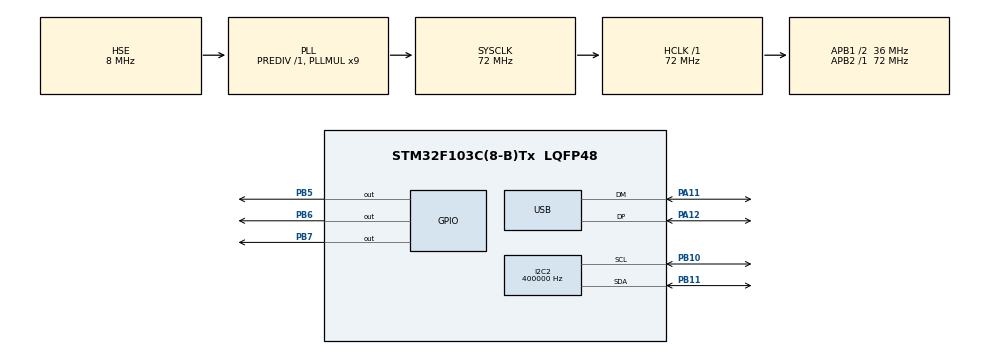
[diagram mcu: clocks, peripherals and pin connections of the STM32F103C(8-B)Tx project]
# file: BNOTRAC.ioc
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I2C2.ClockSpeed=400000
I2C2.I2C_Mode=I2C_Fast
Mcu.Family=STM32F1
Mcu.Name=STM32F103C(8-B)Tx
Mcu.Package=LQFP48
NVIC.I2C2_ER_IRQn=true\:5\:0\:true\:false\:true\:true
NVIC.I2C2_EV_IRQn=true\:5\:0\:true\:false\:true\:true
NVIC.PriorityGroup=NVIC_PRIORITYGROUP_4
NVIC.USB_LP_CAN1_RX0_IRQn=true\:0\:0\:false\:false\:true\:false
PA11.Mode=Device
PA11.Signal=USB_DM
PA12.Mode=Device
PA12.Signal=USB_DP
PA13.Mode=Serial_Wire
PA13.Signal=SYS_JTMS-SWDIO
PA14.Mode=Serial_Wire
PA14.Signal=SYS_JTCK-SWCLK
PB10.Mode=I2C
PB10.Signal=I2C2_SCL
PB11.Mode=I2C
PB11.Signal=I2C2_SDA
PB5.GPIO_Speed=GPIO_SPEED_FREQ_HIGH
PB5.PinState=GPIO_PIN_SET
PB5.Signal=GPIO_Output
PB6.GPIO_Speed=GPIO_SPEED_FREQ_HIGH
PB6.PinState=GPIO_PIN_SET
PB6.Signal=GPIO_Output
PB7.GPIO_Speed=GPIO_SPEED_FREQ_HIGH
PB7.PinState=GPIO_PIN_SET
PB7.Signal=GPIO_Output
PD0-OSC_IN.Mode=HSE-External-Oscillator
PD0-OSC_IN.Signal=RCC_OSC_IN
PD1-OSC_OUT.Mode=HSE-External-Oscillator
PD1-OSC_OUT.Signal=RCC_OSC_OUT
ProjectManager.HeapSize=0x200
ProjectManager.StackSize=0x400
ProjectManager.TargetToolchain=SW4STM32
RCC.AHBFreq_Value=72000000
RCC.APB1CLKDivider=RCC_HCLK_DIV2
RCC.APB1Freq_Value=36000000
RCC.APB1TimFreq_Value=72000000
RCC.APB2Freq_Value=72000000
RCC.APB2TimFreq_Value=72000000
RCC.HCLKFreq_Value=72000000
RCC.PLLMUL=RCC_PLL_MUL9
RCC.SYSCLKFreq_VALUE=72000000
RCC.SYSCLKSource=RCC_SYSCLKSOURCE_PLLCLK
RCC.USBFreq_Value=48000000
RCC.USBPrescaler=RCC_USBCLKSOURCE_PLL_DIV1_5
USB_DEVICE.CLASS_NAME_FS=CDC
USB_DEVICE.USBD_MAX_STR_DESC_SIZ=256
USB_DEVICE.VirtualMode=Cdc
USB_DEVICE.VirtualModeFS=Cdc_FS
VP_USB_DEVICE_VS_USB_DEVICE_CDC_FS.Mode=CDC_FS
board=custom

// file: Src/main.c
/* USER CODE BEGIN Header */
/**
  ******************************************************************************
  * @file           : main.c
  * @brief          : Main program body
  ******************************************************************************
  * This notice applies to any and all portions of this file
  * that are not between comment pairs USER CODE BEGIN and
  * USER CODE END. Other portions of this file, whether
  * inserted by the user or by software development tools
  * are owned by their respective copyright owners.
  *
  * Copyright (c) 2019 STMicroelectronics International N.V.
  * All rights reserved.
  *
  * Redistribution and use in source and binary forms, with or without
  * modification, are permitted, provided that the following conditions are met:
  *
  * 1. Redistribution of source code must retain the above copyright notice,
  *    this list of conditions and the following disclaimer.
  * 2. Redistributions in binary form must reproduce the above copyright notice,
  *    this list of conditions and the following disclaimer in the documentation
  *    and/or other materials provided with the distribution.
  * 3. Neither the name of STMicroelectronics nor the names of other
  *    contributors to this software may be used to endorse or promote products
  *    derived from this software without specific written permission.
  * 4. This software, including modifications and/or derivative works of this
  *    software, must execute solely and exclusively on microcontroller or
  *    microprocessor devices manufactured by or for STMicroelectronics.
  * 5. Redistribution and use of this software other than as permitted under
  *    this license is void and will automatically terminate your rights under
  *    this license.
  *
  * THIS SOFTWARE IS PROVIDED BY STMICROELECTRONICS AND CONTRIBUTORS "AS IS"
  * AND ANY EXPRESS, IMPLIED OR STATUTORY WARRANTIES, INCLUDING, BUT NOT
  * LIMITED TO, THE IMPLIED WARRANTIES OF MERCHANTABILITY, FITNESS FOR A
  * PARTICULAR PURPOSE AND NON-INFRINGEMENT OF THIRD PARTY INTELLECTUAL PROPERTY
  * RIGHTS ARE DISCLAIMED TO THE FULLEST EXTENT PERMITTED BY LAW. IN NO EVENT
  * SHALL STMICROELECTRONICS OR CONTRIBUTORS BE LIABLE FOR ANY DIRECT, INDIRECT,
  * INCIDENTAL, SPECIAL, EXEMPLARY, OR CONSEQUENTIAL DAMAGES (INCLUDING, BUT NOT
  * LIMITED TO, PROCUREMENT OF SUBSTITUTE GOODS OR SERVICES; LOSS OF USE, DATA,
  * OR PROFITS; OR BUSINESS INTERRUPTION) HOWEVER CAUSED AND ON ANY THEORY OF
  * LIABILITY, WHETHER IN CONTRACT, STRICT LIABILITY, OR TORT (INCLUDING
  * NEGLIGENCE OR OTHERWISE) ARISING IN ANY WAY OUT OF THE USE OF THIS SOFTWARE,
  * EVEN IF ADVISED OF THE POSSIBILITY OF SUCH DAMAGE.
  *
  ******************************************************************************
  */
/* USER CODE END Header */

#include "main.h"
#include "i2c.h"
#include "usb_device.h"
#include "gpio.h"

/* USER CODE BEGIN Includes */
#include "BNO055.h"
#include <math.h>

/* USER CODE END Includes */

/* USER CODE BEGIN PV */
float PI = 3.14159265358979323846f;
float LINACC [3];
float LINACCOLD [3];
float Euler[3];
float Quat[4];
float QuatW;
float QuatX;
float QuatY;
float QuatZ;
float test;

float sinr_cosp =0.0f;
float cosr_cosp =0.0f;
float sinp =0.0f;
float siny_cosp =0.0f;
float cosy_cosp =0.0f;

float prevVelocity[3];
float newVelocity[3];
float prevPosition[3];
float prevAccel[3];
float Position[3];
float nevalgo[3];
float Abs[3];
float AbsOld[3];
float EulerF[3];
float EulerF2[3];

float vzero[3];
float szero[3];

uint64_t lastRotationUpdate = 0.0f;
volatile uint64_t now = 0.0f;
float elapsedTime = 0.0f;

int optimer=0;
uint16_t Code;
uint8_t bufArd[30];
uint8_t cnt=0;
uint8_t status;
uint8_t test_result;
uint8_t error;

uint8_t sys=0;
uint8_t gyro=0;
uint8_t accel=0;
uint8_t mag=0;

/* USER CODE END PV */

void SystemClock_Config(void);

/* USER CODE BEGIN 0 */
uint64_t GetMicros(void)
{
	register uint64_t systick, ticks;
	do {
	ticks = (uint64_t)HAL_GetTick();

	 systick = (uint64_t)SysTick->VAL;
	}
	 while (ticks != (uint64_t)HAL_GetTick());
	return (ticks * 1000ull) + (72ul*1000ull - systick )/ 72ul;
}

/* USER CODE END 0 */

int main(void)
{

  /* MCU Configuration--------------------------------------------------------*/

  /* Reset of all peripherals, Initializes the Flash interface and the Systick. */
  HAL_Init();

  /* Configure the system clock */
  SystemClock_Config();

  /* Initialize all configured peripherals */
  MX_GPIO_Init();
  MX_USB_DEVICE_Init();
  MX_I2C2_Init();
  /* USER CODE BEGIN 2 */
    LED0_OFF;
    LED1_OFF;
    LED2_OFF;
    LED0_ON;
    HAL_Delay (100);
    LED1_ON;
    HAL_Delay (100);
    LED0_OFF;
    LED2_ON;
    HAL_Delay (100);
    LED1_OFF;
    HAL_Delay (100);
    LED2_OFF;
    LED1_ON;
    HAL_Delay (100);
    LED1_OFF;
    HAL_Delay (200);
    /*
     print("Start test I2C\r\n");
    HAL_Delay (200);

      for(int i = 0; i < 128; i++)
          {
           uint8_t address = i << 1;

           if(HAL_I2C_IsDeviceReady(&hi2c2, (uint8_t*) address, 1, 1000) == HAL_OK)
           {
            char str[4];
            sprintf(str, "0x%X", address >> 1);
            print("Address:");
            HAL_Delay (500);
            print(str);
            HAL_Delay (500);
            print("\r\n");
            HAL_Delay (500);

         }
          }
          print("Test end I2C\r\n");

*/
    begin( );
    //Calibrating the IMU
    while(sys != 3)
    {
    	char str[4];
    getCalibration(&sys, &gyro, &accel, &mag);
    LED0_TOGGLE;
    LED1_TOGGLE;
    LED2_TOGGLE;
    print("CALIBRATION: Sys=");
    sprintf(str, "0x%X",sys);
    HAL_Delay (500);
    print(str);
    HAL_Delay (500);
    print(" Gyro=");
    sprintf(str, "0x%X",gyro);
    HAL_Delay (500);
    print(str);
    HAL_Delay (500);
    print(" Accel=");
    sprintf(str, "0x%X",accel);
    HAL_Delay (500);
    print(str);
    HAL_Delay (500);
    print(" Mag=");
    sprintf(str, "0x%X",mag);
    HAL_Delay (500);
    print(str);
    HAL_Delay (500);

    print("\r\n");
    }
    LED0_OFF;
    LED1_OFF;
    LED2_OFF;
    now = GetMicros();
  /* USER CODE END 2 */

  /* Infinite loop */
  /* USER CODE BEGIN WHILE */

   while (1)
  {

	    ProcessHeadTracking();
	  		cnt++;
	  		if (cnt>=100)
	  		{
	  			LED1_TOGGLE;
	  			cnt=0;
	  		}

	  		/*	 processcalcAbs();
	  // getLinear(VECTOR_LINEARACCEL, LINACC);
	  uint8_t i = 0;
	  	char str0[100];
	  	sprintf(str0,"%08d;%08d;%08d\r\n", (int16_t)nevalgo[0], (int16_t)nevalgo[1], (int16_t)nevalgo[2] );
	  		   	 CDC_Transmit_FS((unsigned char*)str0, strlen(str0),100);

	  		  cnt++;
	  		  		if (cnt>=100)
	  		  		{
	  		  			LED0_TOGGLE;
	  		  			cnt=0;
	  		  		}
*/

    /* USER CODE END WHILE */

  }
}

void SystemClock_Config(void)
{
  RCC_OscInitTypeDef RCC_OscInitStruct = {0};
  RCC_ClkInitTypeDef RCC_ClkInitStruct = {0};
  RCC_PeriphCLKInitTypeDef PeriphClkInit = {0};

  /**Initializes the CPU, AHB and APB busses clocks
  */
  RCC_OscInitStruct.OscillatorType = RCC_OSCILLATORTYPE_HSE;
  RCC_OscInitStruct.HSEState = RCC_HSE_ON;
  RCC_OscInitStruct.HSEPredivValue = RCC_HSE_PREDIV_DIV1;
  RCC_OscInitStruct.HSIState = RCC_HSI_ON;
  RCC_OscInitStruct.PLL.PLLState = RCC_PLL_ON;
  RCC_OscInitStruct.PLL.PLLSource = RCC_PLLSOURCE_HSE;
  RCC_OscInitStruct.PLL.PLLMUL = RCC_PLL_MUL9;
  if (HAL_RCC_OscConfig(&RCC_OscInitStruct) != HAL_OK)
  {
    Error_Handler();
  }
  /**Initializes the CPU, AHB and APB busses clocks
  */
  RCC_ClkInitStruct.ClockType = RCC_CLOCKTYPE_HCLK|RCC_CLOCKTYPE_SYSCLK
                              |RCC_CLOCKTYPE_PCLK1|RCC_CLOCKTYPE_PCLK2;
  RCC_ClkInitStruct.SYSCLKSource = RCC_SYSCLKSOURCE_PLLCLK;
  RCC_ClkInitStruct.AHBCLKDivider = RCC_SYSCLK_DIV1;
  RCC_ClkInitStruct.APB1CLKDivider = RCC_HCLK_DIV2;
  RCC_ClkInitStruct.APB2CLKDivider = RCC_HCLK_DIV1;

  if (HAL_RCC_ClockConfig(&RCC_ClkInitStruct, FLASH_LATENCY_2) != HAL_OK)
  {
    Error_Handler();
  }
  PeriphClkInit.PeriphClockSelection = RCC_PERIPHCLK_USB;
  PeriphClkInit.UsbClockSelection = RCC_USBCLKSOURCE_PLL_DIV1_5;
  if (HAL_RCCEx_PeriphCLKConfig(&PeriphClkInit) != HAL_OK)
  {
    Error_Handler();
  }
}

/* USER CODE BEGIN 4 */

void floatToByteArray(float f, uint8_t *barr, uint8_t start) {

    unsigned int asInt = *((int*)&f);

    int i;
    for (i = 0; i < 4; i++) {
        barr[start+i] = (asInt >> 8 * i) & 0xFF;
    }
}

void processQuat()
{
	getQuat(VECTOR_QUAT, Quat);

	QuatW=Quat[0];
	QuatX=Quat[1];
	QuatY=Quat[2];
	QuatZ=Quat[3];
}

void processEuler()
{

	getEuler(VECTOR_EULER, Euler);

	/* sinr_cosp = 2.0f*(QuatY*QuatW-QuatX*QuatZ);
	 cosr_cosp = 1.0f-2.0f*(QuatY*QuatY+QuatZ*QuatZ);
	 sinp = 2.0f*(QuatX*QuatY + QuatZ*QuatW);
	 siny_cosp = 2.0f*(QuatX*QuatW-QuatY*QuatZ);
	 cosy_cosp = 1.f-2.0f*(QuatX*QuatX+QuatZ*QuatZ);

 Euler[0]=atan2(sinr_cosp, cosr_cosp);
 if(fabs(sinp)>=1){
 Euler[1]=copysign(PI/2,sinp);
 }
 else {
 		  Euler[1]=asin(sinp);
 	  }
 Euler[2]=atan2(siny_cosp, cosy_cosp);
 */
	  EulerF[0]=Euler[0]-180.0f;
	  EulerF[1]=Euler[1];
	  EulerF[2]=Euler[2];
}

void print(char string[])
{
	CDC_Transmit_FS( (unsigned char*) string, strlen(string), 100);
}

void processArduinoReport()
  {
	 // optimer++;
	  //if (optimer>100) {optimer=0;}

	  EulerF2[0]=EulerF2[0]*0.9f+EulerF[0]*0.1f;
	  EulerF2[1]=EulerF2[1]*0.9f+EulerF[1]*0.1f;
	  EulerF2[2]=EulerF2[2]*0.9f+EulerF[2]*0.1f;

	  AbsOld[0]=AbsOld[0]*0.9f+Abs[0]*0.1f;
	  AbsOld[1]=AbsOld[1]*0.9f+Abs[1]*0.1f;
	  AbsOld[2]=AbsOld[2]*0.9f+Abs[2]*0.1f;
	 // if (optimer%1==0)
	 // {
		  Code++;
		  if (Code>999)
			  Code=0;

			bufArd[0]=(uint8_t)(0xAA);
			bufArd[1]=(uint8_t)(0xAA);
			bufArd[2]=(uint8_t)Code;
			bufArd[3]=(uint8_t)(Code>>8);

			bufArd[4]=(uint8_t)0x00;
			bufArd[5]=(uint8_t)0x00;
			bufArd[6]=(uint8_t)0x00;
			bufArd[7]=(uint8_t)0x00;

			bufArd[8]=(uint8_t)0x00;
			bufArd[9]=(uint8_t)0x00;
			bufArd[10]=(uint8_t)0x00;
			bufArd[11]=(uint8_t)0x00;

			bufArd[12]=(uint8_t)0x00;
			bufArd[13]=(uint8_t)0x00;
			bufArd[14]=(uint8_t)0x00;
			bufArd[15]=(uint8_t)0x00;

			bufArd[16]=(uint8_t) 0x00;
			bufArd[17]=(uint8_t) 0x00;
			bufArd[18]=(uint8_t) 0x00;
			bufArd[19]=(uint8_t) 0x00;

			bufArd[20]=(uint8_t) 0x00;
			bufArd[21]=(uint8_t) 0x00;
			bufArd[22]=(uint8_t) 0x00;
			bufArd[23]=(uint8_t) 0x00;

			bufArd[24]=(uint8_t) 0x00;
			bufArd[25]=(uint8_t) 0x00;
			bufArd[26]=(uint8_t) 0x00;
			bufArd[27]=(uint8_t) 0x00;

			bufArd[28]=(uint8_t)(0x55);
			bufArd[29]=(uint8_t)(0x55);

			floatToByteArray(EulerF2[0],bufArd,4);
			floatToByteArray(EulerF2[1],bufArd,8);
			floatToByteArray(EulerF2[2],bufArd,12);
			floatToByteArray(AbsOld[0],bufArd,16);
			floatToByteArray(AbsOld[1],bufArd,20);
			floatToByteArray(AbsOld[2],bufArd,24);
			CDC_Transmit_FS(bufArd,30);
	 // }

  }

void ProcessHeadTracking()
{
	//processQuat();
	processEuler();
	processcalcAbs();
	processArduinoReport();
}

/*void HAL_GPIO_EXTI_Callback(uint16_t GPIO_Pin)
{
	if (GPIO_Pin==GPIO_PIN_4)
	{

		ProcessHeadTracking();
		cnt++;
		if (cnt>=250)
		{
			LED0_TOGGLE;
			cnt=0;
		}
	}
	//else if (GPIO_Pin==GPIO_PIN_13)
	//{
	//	LED1_TOGGLE;
	//	getCalibration();
	//}
}*/

/* uses last loaded QuaData and LinAccData. */
void processcalcAbs()
{
	lastRotationUpdate = now;
	now = GetMicros();
	elapsedTime = (now - lastRotationUpdate) / 1000000.0f; // set integration time by time elapsed since last filter update

    getLinear(VECTOR_LINEARACCEL, LINACC);

    LINACCOLD[0] = LINACCOLD[0]*0.995f+LINACC[0]*0.005f;
    LINACCOLD[1] = LINACCOLD[1]*0.995f+LINACC[1]*0.005f;
    LINACCOLD[2] = LINACCOLD[2]*0.995f+LINACC[2]*0.005f;

    newVelocity[0] = prevVelocity[0]+ LINACCOLD[0]* elapsedTime;
    newVelocity[1] = prevVelocity[1]+ LINACCOLD[1]* elapsedTime;
    newVelocity[2] = prevVelocity[2]+ LINACCOLD[2]* elapsedTime;

    nevalgo[0]+= LINACCOLD[0];
    nevalgo[1]+= LINACCOLD[1];
    nevalgo[2]+= LINACCOLD[2];

    Position[0] += (prevVelocity[0]* elapsedTime + (LINACCOLD[0]* elapsedTime* elapsedTime)/2);
    Position[1] += (prevVelocity[1]* elapsedTime + (LINACCOLD[1]* elapsedTime* elapsedTime)/2);
    Position[2] += (prevVelocity[2]* elapsedTime + (LINACCOLD[2]* elapsedTime* elapsedTime)/2);

    Abs[0] = Abs[0]*0.98f+Position[0]*0.02f;
    Abs[1] = Abs[1]*0.98f+Position[1]*0.02f;
    Abs[2] = Abs[2]*0.98f+Position[2]*0.02f;

   // prevAccel[0] = LINACCOLD[0];
   // prevAccel[1] = LINACCOLD[1];
   // prevAccel[2] = LINACCOLD[2];
    prevVelocity[0]= newVelocity[0];
   // prevPosition[0] = Position[0];
    prevVelocity[1]= newVelocity[1];
   // prevPosition[1] = Position[1];
    prevVelocity[2]= newVelocity[2];
   // prevPosition[2] = Position[2];

}

/* USER CODE END 4 */

void Error_Handler(void)
{
}

/************************ (C) COPYRIGHT STMicroelectronics *****END OF FILE****/
